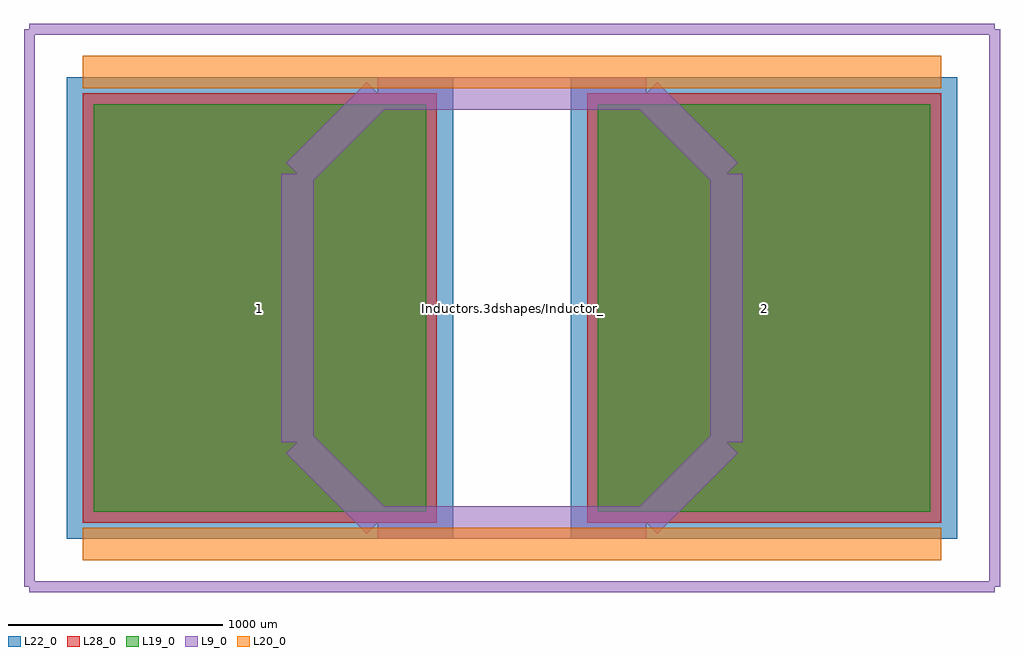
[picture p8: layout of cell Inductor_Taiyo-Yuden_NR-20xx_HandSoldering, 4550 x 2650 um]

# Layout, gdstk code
import gdstk
lib = gdstk.Library(unit=1e-6, precision=1e-09)
def R(c, l, rs):  # rectangles x0, y0, x1, y1
    for r in rs: c.add(gdstk.rectangle(r[:2], r[2:], *l))
L9_0 = (9, 0)
L19_0 = (19, 0)
L20_0 = (20, 0)
L22_0 = (22, 0)
L28_0 = (28, 0)

inductor_taiyo_yuden_nr_ = lib.new_cell('Inductor_Taiyo-Yuden_NR-20xx_HandSoldering')
R(inductor_taiyo_yuden_nr_, L19_0, [(-1950,-950,-400,950), (400,-950,1950,950)])
R(inductor_taiyo_yuden_nr_, L22_0, [(-2075,-1075,-275,1075), (275,-1075,2075,1075)])
R(inductor_taiyo_yuden_nr_, L28_0, [(-2000,-1000,-350,1000), (350,-1000,2000,1000)])
inductor_taiyo_yuden_nr_.add(gdstk.FlexPath([(2250,1300),(-2250,1300)], 50, ends="flush", simple_path=True, layer=9, datatype=0))  # L9_0
inductor_taiyo_yuden_nr_.add(gdstk.FlexPath([(2250,-1300),(2250,1300)], 50, ends="flush", simple_path=True, layer=9, datatype=0))  # L9_0
inductor_taiyo_yuden_nr_.add(gdstk.FlexPath([(-2250,-1300),(2250,-1300)], 50, ends="flush", simple_path=True, layer=9, datatype=0))  # L9_0
inductor_taiyo_yuden_nr_.add(gdstk.FlexPath([(-2250,1300),(-2250,-1300)], 50, ends="flush", simple_path=True, layer=9, datatype=0))  # L9_0
inductor_taiyo_yuden_nr_.add(gdstk.FlexPath([(-2000,-1100),(2000,-1100)], 149.998, ends="flush", simple_path=True, layer=20, datatype=0))  # L20_0
inductor_taiyo_yuden_nr_.add(gdstk.FlexPath([(-2000,1100),(2000,1100)], 149.998, ends="flush", simple_path=True, layer=20, datatype=0))  # L20_0
inductor_taiyo_yuden_nr_.add(gdstk.FlexPath([(-625,-1000),(0,-1000)], 149.998, ends="flush", simple_path=True, layer=9, datatype=0))  # L9_0
inductor_taiyo_yuden_nr_.add(gdstk.FlexPath([(-1000,-625),(-625,-1000)], 149.998, ends="flush", simple_path=True, layer=9, datatype=0))  # L9_0
inductor_taiyo_yuden_nr_.add(gdstk.FlexPath([(-1000,0),(-1000,-625)], 149.998, ends="flush", simple_path=True, layer=9, datatype=0))  # L9_0
inductor_taiyo_yuden_nr_.add(gdstk.FlexPath([(625,-1000),(0,-1000)], 149.998, ends="flush", simple_path=True, layer=9, datatype=0))  # L9_0
inductor_taiyo_yuden_nr_.add(gdstk.FlexPath([(1000,-625),(625,-1000)], 149.998, ends="flush", simple_path=True, layer=9, datatype=0))  # L9_0
inductor_taiyo_yuden_nr_.add(gdstk.FlexPath([(1000,0),(1000,-625)], 149.998, ends="flush", simple_path=True, layer=9, datatype=0))  # L9_0
inductor_taiyo_yuden_nr_.add(gdstk.FlexPath([(625,1000),(0,1000)], 149.998, ends="flush", simple_path=True, layer=9, datatype=0))  # L9_0
inductor_taiyo_yuden_nr_.add(gdstk.FlexPath([(1000,625),(625,1000)], 149.998, ends="flush", simple_path=True, layer=9, datatype=0))  # L9_0
inductor_taiyo_yuden_nr_.add(gdstk.FlexPath([(1000,0),(1000,625)], 149.998, ends="flush", simple_path=True, layer=9, datatype=0))  # L9_0
inductor_taiyo_yuden_nr_.add(gdstk.FlexPath([(-625,1000),(0,1000)], 149.998, ends="flush", simple_path=True, layer=9, datatype=0))  # L9_0
inductor_taiyo_yuden_nr_.add(gdstk.FlexPath([(-1000,625),(-625,1000)], 149.998, ends="flush", simple_path=True, layer=9, datatype=0))  # L9_0
inductor_taiyo_yuden_nr_.add(gdstk.FlexPath([(-1000,0),(-1000,625)], 149.998, ends="flush", simple_path=True, layer=9, datatype=0))  # L9_0
inductor_taiyo_yuden_nr_.add(gdstk.Label('Inductors.3dshapes/Inductor_Taiyo-Yuden_NR-20xx.wrl', (0,0), layer=12, texttype=0))
inductor_taiyo_yuden_nr_.add(gdstk.Label('2', (1175,0), layer=28, texttype=0))
inductor_taiyo_yuden_nr_.add(gdstk.Label('1', (-1175,0), layer=28, texttype=0))
inductor_taiyo_yuden_nr_.add(gdstk.Label('type', (0,-2500), layer=9, texttype=0))
inductor_taiyo_yuden_nr_.add(gdstk.Label('devicename', (0,2000), layer=9, texttype=0))

lib.write_gds('Inductor_Taiyo-Yuden_NR-20xx_HandSoldering.gds')
